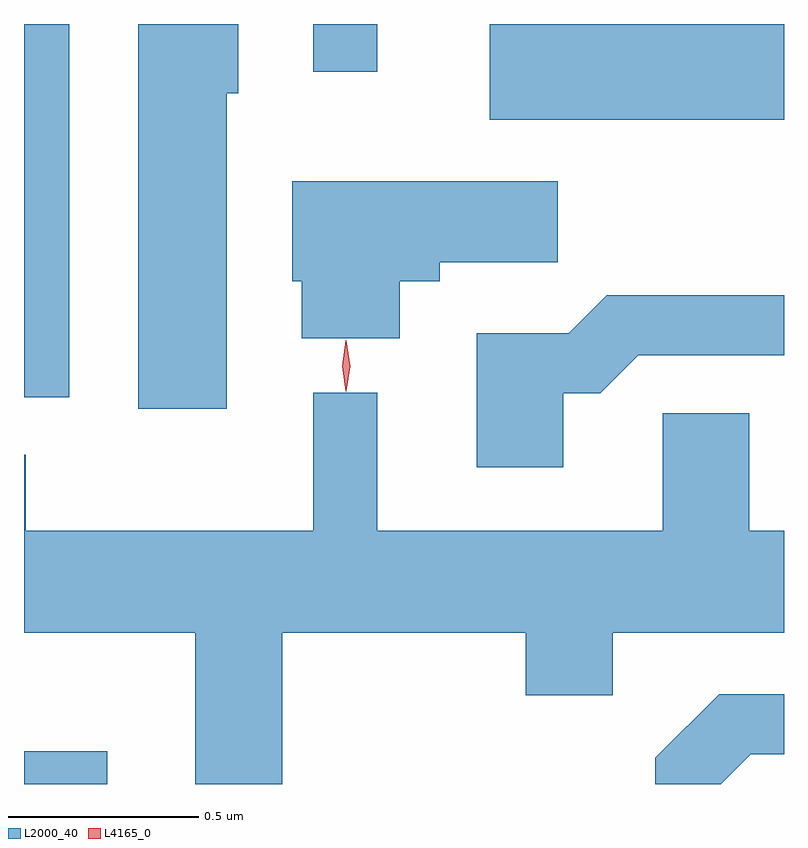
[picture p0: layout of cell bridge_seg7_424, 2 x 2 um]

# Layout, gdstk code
import gdstk
lib = gdstk.Library(unit=1e-6, precision=1e-09)
def R(c, l, rs):  # rectangles x0, y0, x1, y1
    for r in rs: c.add(gdstk.rectangle(r[:2], r[2:], *l))
def P(c, l, *ps):  # polygons
    for p in ps: c.add(gdstk.Polygon(p, *l))
L2000_40 = (2000, 40)
L4165_0 = (4165, 0)

bridge_seg7_424 = lib.new_cell('bridge_seg7_424')
R(bridge_seg7_424, L2000_40, [(1125.53,1711.698,1125.749,1711.784), (1125.53,1712.716,1125.649,1713.698), (1126.756,1713.446,1127.53,1713.698), (1126.291,1713.573,1126.459,1713.698)])
P(bridge_seg7_424, L2000_40, [(1126.064,1713.516),(1126.094,1713.516),(1126.094,1713.698),(1125.831,1713.698),(1125.831,1712.686),(1126.064,1712.686)],
  [(1126.519,1713.021),(1126.624,1713.021),(1126.624,1713.071),(1126.934,1713.071),(1126.934,1713.284),(1126.236,1713.284),(1126.236,1713.021),(1126.261,1713.021),(1126.261,1712.871),(1126.519,1712.871)],
  [(1126.949,1712.726),(1127.047,1712.726),(1127.147,1712.826),(1127.53,1712.826),(1127.53,1712.984),(1127.064,1712.984),(1126.964,1712.884),(1126.721,1712.884),(1126.721,1712.531),(1126.949,1712.531)],
  [(1126.851,1711.931),(1127.079,1711.931),(1127.079,1712.096),(1127.53,1712.096),(1127.53,1712.364),(1127.439,1712.364),(1127.439,1712.674),(1127.211,1712.674),(1127.211,1712.364),(1126.459,1712.364),(1126.459,1712.728),(1126.291,1712.728),(1126.291,1712.364),(1125.534,1712.364),(1125.534,1712.564),(1125.53,1712.564),(1125.53,1712.096),(1125.981,1712.096),(1125.981,1711.698),(1126.209,1711.698),(1126.209,1712.096),(1126.851,1712.096)],
  [(1127.442,1711.776),(1127.53,1711.776),(1127.53,1711.934),(1127.359,1711.934),(1127.191,1711.767),(1127.191,1711.698),(1127.363,1711.698)])
P(bridge_seg7_424, L4165_0, [(1126.378,1712.73),(1126.377,1712.731),(1126.368,1712.798),(1126.377,1712.866),(1126.378,1712.866),(1126.378,1712.866),(1126.388,1712.798),(1126.378,1712.731)])

lib.write_gds('bridge_seg7_424.gds')
